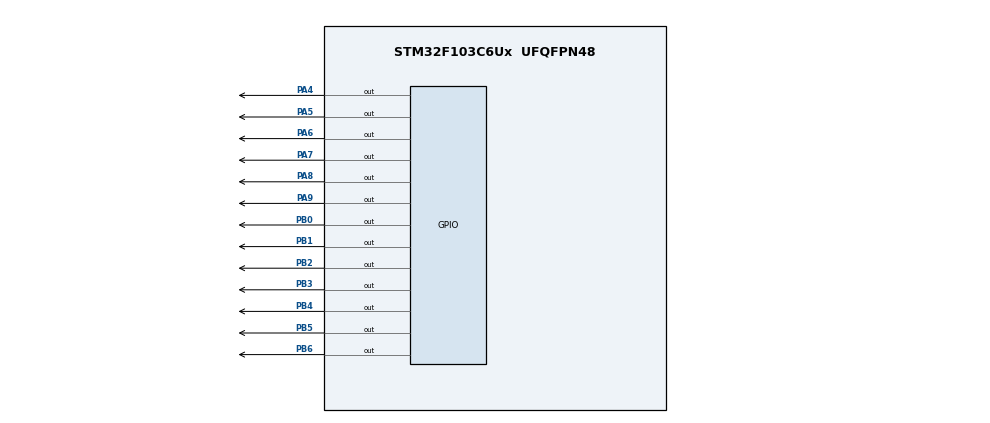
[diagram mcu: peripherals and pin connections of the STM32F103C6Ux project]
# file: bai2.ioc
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Mcu.Family=STM32F1
Mcu.Name=STM32F103C6Ux
Mcu.Package=UFQFPN48
NVIC.PriorityGroup=NVIC_PRIORITYGROUP_4
NVIC.TIM2_IRQn=true\:0\:0\:false\:false\:true\:true\:true
PA4.Signal=GPIO_Output
PA5.Signal=GPIO_Output
PA6.Signal=GPIO_Output
PA7.Signal=GPIO_Output
PA8.Signal=GPIO_Output
PA9.Signal=GPIO_Output
PB0.Signal=GPIO_Output
PB1.Signal=GPIO_Output
PB2.Signal=GPIO_Output
PB3.Signal=GPIO_Output
PB4.Signal=GPIO_Output
PB5.Signal=GPIO_Output
PB6.Signal=GPIO_Output
ProjectManager.HeapSize=0x200
ProjectManager.StackSize=0x400
ProjectManager.TargetToolchain=STM32CubeIDE
RCC.APB1Freq_Value=8000000
RCC.APB2Freq_Value=8000000
TIM2.Period=9
TIM2.Prescaler=7999
VP_SYS_VS_ND.Mode=No_Debug
VP_TIM2_VS_ClockSourceINT.Mode=Internal
board=custom

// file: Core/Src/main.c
/* USER CODE BEGIN Header */
/**
  ******************************************************************************
  * @file           : main.c
  * @brief          : Main program body
  ******************************************************************************
  * @attention
  *
  * <h2><center>&copy; Copyright (c) 2026 STMicroelectronics.
  * All rights reserved.</center></h2>
  *
  * This software component is licensed by ST under BSD 3-Clause license,
  * the "License"; You may not use this file except in compliance with the
  * License. You may obtain a copy of the License at:
  *                        opensource.org/licenses/BSD-3-Clause
  *
  ******************************************************************************
  */
/* USER CODE END Header */
#include "main.h"

TIM_HandleTypeDef htim2;

void SystemClock_Config(void);
static void MX_GPIO_Init(void);
static void MX_TIM2_Init(void);

/* USER CODE BEGIN 0 */
int hour = 15;
int minute = 8;
int second = 50;

int led_buffer[4] = {1, 5, 0, 8};
int dot_counter = 0;
int counter = 0;
#define MAX_LED 4

int index_led = 0;

int timer0_counter = 0;
int timer0_flag = 0;
int TIMER_CYCLE = 10;

void setTimer0 ( int duration ) {
	timer0_counter = duration / TIMER_CYCLE ;
	timer0_flag = 0;
}

void timer_run () {
	if( timer0_counter > 0) {
		timer0_counter--;
		if( timer0_counter == 0) timer0_flag = 1;
	}
}

void updateClockBuffer()
{
    led_buffer[0] = hour / 10;
    led_buffer[1] = hour % 10;
    led_buffer[2] = minute / 10;
    led_buffer[3] = minute % 10;
}

void display7SEG(int num)
{
    // Tắt tất cả segment trước
    HAL_GPIO_WritePin(GPIOB, GPIO_PIN_0 | GPIO_PIN_1 |
                             GPIO_PIN_2 | GPIO_PIN_3 |
                             GPIO_PIN_4 | GPIO_PIN_5 |
                             GPIO_PIN_6, GPIO_PIN_SET);

    switch(num)
    {
        case 0:
            // 0 = a, b, c, d, e, f
            HAL_GPIO_WritePin(GPIOB,
                              GPIO_PIN_0 | GPIO_PIN_1 |
                              GPIO_PIN_2 | GPIO_PIN_3 |
                              GPIO_PIN_4 | GPIO_PIN_5,
                              GPIO_PIN_RESET);
            break;

        case 1:
            // 1 = b, c
            HAL_GPIO_WritePin(GPIOB,
                              GPIO_PIN_1 | GPIO_PIN_2,
                              GPIO_PIN_RESET);
            break;

        case 2:
            // 2 = a, b, d, e, g
            HAL_GPIO_WritePin(GPIOB,
                              GPIO_PIN_0 | GPIO_PIN_1 |
                              GPIO_PIN_3 | GPIO_PIN_4 |
                              GPIO_PIN_6,
                              GPIO_PIN_RESET);
            break;

        case 3:
            // 3 = a, b, c, d, g
            HAL_GPIO_WritePin(GPIOB,
                              GPIO_PIN_0 | GPIO_PIN_1 |
                              GPIO_PIN_2 | GPIO_PIN_3 |
                              GPIO_PIN_6,
                              GPIO_PIN_RESET);
            break;

        case 4:
            // 4 = b, c, f, g
            HAL_GPIO_WritePin(GPIOB,
                              GPIO_PIN_1 | GPIO_PIN_2 |
                              GPIO_PIN_5 | GPIO_PIN_6,
                              GPIO_PIN_RESET);
            break;

        case 5:
            // 5 = a, c, d, f, g
            HAL_GPIO_WritePin(GPIOB,
                              GPIO_PIN_0 | GPIO_PIN_2 |
                              GPIO_PIN_3 | GPIO_PIN_5 |
                              GPIO_PIN_6,
                              GPIO_PIN_RESET);
            break;

        case 6:
            // 6 = a, c, d, e, f, g
            HAL_GPIO_WritePin(GPIOB,
                              GPIO_PIN_0 | GPIO_PIN_2 |
                              GPIO_PIN_3 | GPIO_PIN_4 |
                              GPIO_PIN_5 | GPIO_PIN_6,
                              GPIO_PIN_RESET);
            break;

        case 7:
            // 7 = a, b, c
            HAL_GPIO_WritePin(GPIOB,
                              GPIO_PIN_0 | GPIO_PIN_1 |
                              GPIO_PIN_2,
                              GPIO_PIN_RESET);
            break;

        case 8:
            // 8 = a, b, c, d, e, f, g
            HAL_GPIO_WritePin(GPIOB,
                              GPIO_PIN_0 | GPIO_PIN_1 |
                              GPIO_PIN_2 | GPIO_PIN_3 |
                              GPIO_PIN_4 | GPIO_PIN_5 |
                              GPIO_PIN_6,
                              GPIO_PIN_RESET);
            break;

        case 9:
            // 9 = a, b, c, d, f, g
            HAL_GPIO_WritePin(GPIOB,
                              GPIO_PIN_0 | GPIO_PIN_1 |
                              GPIO_PIN_2 | GPIO_PIN_3 |
                              GPIO_PIN_5 | GPIO_PIN_6,
                              GPIO_PIN_RESET);
            break;

        default:
            break;
    }
}

void selectLED(int index)
{
    // Tắt tất cả 4 LED
    HAL_GPIO_WritePin(GPIOA,
                      GPIO_PIN_6 | GPIO_PIN_7 |
                      GPIO_PIN_8 | GPIO_PIN_9,
                      GPIO_PIN_SET);

    if(index == 0)
    {
        HAL_GPIO_WritePin(GPIOA, GPIO_PIN_6, GPIO_PIN_RESET);
    }
    else if(index == 1)
    {
        HAL_GPIO_WritePin(GPIOA, GPIO_PIN_7, GPIO_PIN_RESET);
    }
    else if(index == 2)
    {
        HAL_GPIO_WritePin(GPIOA, GPIO_PIN_8, GPIO_PIN_RESET);
    }
    else if(index == 3)
    {
        HAL_GPIO_WritePin(GPIOA, GPIO_PIN_9, GPIO_PIN_RESET);
    }
}

void update7SEG(int index)
{
    switch(index)
    {
        case 0:
            selectLED(0);
            display7SEG(led_buffer[0]);
            break;

        case 1:
            selectLED(1);
            display7SEG(led_buffer[1]);
            break;

        case 2:
            selectLED(2);
            display7SEG(led_buffer[2]);
            break;

        case 3:
            selectLED(3);
            display7SEG(led_buffer[3]);
            break;

        default:
            break;
    }
}
/* USER CODE END 0 */

int main(void)
{

  /* MCU Configuration--------------------------------------------------------*/

  /* Reset of all peripherals, Initializes the Flash interface and the Systick. */
  HAL_Init();

  /* Configure the system clock */
  SystemClock_Config();

  /* Initialize all configured peripherals */
  MX_GPIO_Init();
  MX_TIM2_Init();
  /* USER CODE BEGIN 2 */
  update7SEG(index_led);
  index_led++;

  if(index_led >= MAX_LED)
  {
      index_led = 0;
  }
  HAL_TIM_Base_Start_IT (& htim2 ) ;
  /* USER CODE END 2 */

  /* Infinite loop */
  /* USER CODE BEGIN WHILE */
  setTimer0(1000);
  while (1)
  {
	  if(timer0_flag == 1){
		  second++;

		  if(second >= 60){
			  second = 0;
			  minute++;
	      }

		  if(minute >= 60){
	          minute = 0;
	          hour++;
	      }

		  if(hour >= 24){
			  hour = 0;
	      }

	      updateClockBuffer();

	      HAL_GPIO_TogglePin(GPIOA, GPIO_PIN_4);

	      setTimer0(1000);
	   }
    /* USER CODE END WHILE */

  }
}

void SystemClock_Config(void)
{
  RCC_OscInitTypeDef RCC_OscInitStruct = {0};
  RCC_ClkInitTypeDef RCC_ClkInitStruct = {0};

  /** Initializes the RCC Oscillators according to the specified parameters
  * in the RCC_OscInitTypeDef structure.
  */
  RCC_OscInitStruct.OscillatorType = RCC_OSCILLATORTYPE_HSI;
  RCC_OscInitStruct.HSIState = RCC_HSI_ON;
  RCC_OscInitStruct.HSICalibrationValue = RCC_HSICALIBRATION_DEFAULT;
  RCC_OscInitStruct.PLL.PLLState = RCC_PLL_NONE;
  if (HAL_RCC_OscConfig(&RCC_OscInitStruct) != HAL_OK)
  {
    Error_Handler();
  }
  /** Initializes the CPU, AHB and APB buses clocks
  */
  RCC_ClkInitStruct.ClockType = RCC_CLOCKTYPE_HCLK|RCC_CLOCKTYPE_SYSCLK
                              |RCC_CLOCKTYPE_PCLK1|RCC_CLOCKTYPE_PCLK2;
  RCC_ClkInitStruct.SYSCLKSource = RCC_SYSCLKSOURCE_HSI;
  RCC_ClkInitStruct.AHBCLKDivider = RCC_SYSCLK_DIV1;
  RCC_ClkInitStruct.APB1CLKDivider = RCC_HCLK_DIV1;
  RCC_ClkInitStruct.APB2CLKDivider = RCC_HCLK_DIV1;

  if (HAL_RCC_ClockConfig(&RCC_ClkInitStruct, FLASH_LATENCY_0) != HAL_OK)
  {
    Error_Handler();
  }
}

static void MX_TIM2_Init(void)
{

  TIM_ClockConfigTypeDef sClockSourceConfig = {0};
  TIM_MasterConfigTypeDef sMasterConfig = {0};

  htim2.Instance = TIM2;
  htim2.Init.Prescaler = 7999;
  htim2.Init.CounterMode = TIM_COUNTERMODE_UP;
  htim2.Init.Period = 9;
  htim2.Init.ClockDivision = TIM_CLOCKDIVISION_DIV1;
  htim2.Init.AutoReloadPreload = TIM_AUTORELOAD_PRELOAD_DISABLE;
  if (HAL_TIM_Base_Init(&htim2) != HAL_OK)
  {
    Error_Handler();
  }
  sClockSourceConfig.ClockSource = TIM_CLOCKSOURCE_INTERNAL;
  if (HAL_TIM_ConfigClockSource(&htim2, &sClockSourceConfig) != HAL_OK)
  {
    Error_Handler();
  }
  sMasterConfig.MasterOutputTrigger = TIM_TRGO_RESET;
  sMasterConfig.MasterSlaveMode = TIM_MASTERSLAVEMODE_DISABLE;
  if (HAL_TIMEx_MasterConfigSynchronization(&htim2, &sMasterConfig) != HAL_OK)
  {
    Error_Handler();
  }

}

static void MX_GPIO_Init(void)
{
  GPIO_InitTypeDef GPIO_InitStruct = {0};

  /* GPIO Ports Clock Enable */
  __HAL_RCC_GPIOA_CLK_ENABLE();
  __HAL_RCC_GPIOB_CLK_ENABLE();

  /*Configure GPIO pin Output Level */
  HAL_GPIO_WritePin(GPIOA, GPIO_PIN_4|GPIO_PIN_5|GPIO_PIN_6|GPIO_PIN_7
                          |GPIO_PIN_8|GPIO_PIN_9, GPIO_PIN_RESET);

  /*Configure GPIO pin Output Level */
  HAL_GPIO_WritePin(GPIOB, GPIO_PIN_0|GPIO_PIN_1|GPIO_PIN_2|GPIO_PIN_3
                          |GPIO_PIN_4|GPIO_PIN_5|GPIO_PIN_6, GPIO_PIN_RESET);

  /*Configure GPIO pins : PA4 PA5 PA6 PA7
                           PA8 PA9 */
  GPIO_InitStruct.Pin = GPIO_PIN_4|GPIO_PIN_5|GPIO_PIN_6|GPIO_PIN_7
                          |GPIO_PIN_8|GPIO_PIN_9;
  GPIO_InitStruct.Mode = GPIO_MODE_OUTPUT_PP;
  GPIO_InitStruct.Pull = GPIO_NOPULL;
  GPIO_InitStruct.Speed = GPIO_SPEED_FREQ_LOW;
  HAL_GPIO_Init(GPIOA, &GPIO_InitStruct);

  /*Configure GPIO pins : PB0 PB1 PB2 PB3
                           PB4 PB5 PB6 */
  GPIO_InitStruct.Pin = GPIO_PIN_0|GPIO_PIN_1|GPIO_PIN_2|GPIO_PIN_3
                          |GPIO_PIN_4|GPIO_PIN_5|GPIO_PIN_6;
  GPIO_InitStruct.Mode = GPIO_MODE_OUTPUT_PP;
  GPIO_InitStruct.Pull = GPIO_NOPULL;
  GPIO_InitStruct.Speed = GPIO_SPEED_FREQ_LOW;
  HAL_GPIO_Init(GPIOB, &GPIO_InitStruct);

}

/* USER CODE BEGIN 4 */
void HAL_TIM_PeriodElapsedCallback(TIM_HandleTypeDef *htim){
    if(htim->Instance == TIM2)
    {
    	timer_run () ;
        counter++;
        if(counter >= 25)
        {
            counter = 0;

            update7SEG(index_led);

            index_led++;

            if(index_led >= MAX_LED)
            {
                index_led = 0;
            }
        }
    }
}
/* USER CODE END 4 */

void Error_Handler(void)
{
  __disable_irq();
  while (1)
  {
  }
}

/************************ (C) COPYRIGHT STMicroelectronics *****END OF FILE****/
